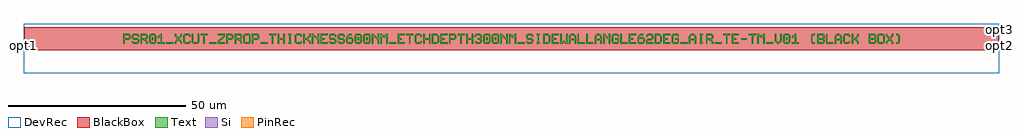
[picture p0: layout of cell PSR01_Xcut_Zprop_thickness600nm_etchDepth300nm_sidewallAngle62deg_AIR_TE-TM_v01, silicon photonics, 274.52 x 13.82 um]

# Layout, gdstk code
import gdstk
lib = gdstk.Library(unit=1e-6, precision=1e-10)
def R(c, l, rs):  # rectangles x0, y0, x1, y1
    for r in rs: c.add(gdstk.rectangle(r[:2], r[2:], *l))
def A(c, l, x, y, w, h, nx, ny, dx, dy):  # array of equal rectangles
    R(c, l, [(x+i*dx, y+j*dy, x+i*dx+w, y+j*dy+h) for i in range(nx) for j in range(ny)])
def P(c, l, *ps):  # polygons
    for p in ps: c.add(gdstk.Polygon(p, *l))
Si = (1, 0)
PinRec = (1, 10)
Text = (10, 0)
DevRec = (68, 0)
BlackBox = (998, 0)

text = lib.new_cell('TEXT')
A(text, Text, 38.56, 0, 2.008, 0.402, 3, 1, 36.15, 0)
R(text, Text, [(12.05,0,14.058,0.402), (24.1,0,26.108,0.402), (156.65,0,158.658,0.402), (166.29,0,168.298,0.402), (180.75,0,182.758,0.402), (8.033,1.004,8.435,1.807), (65.873,1.004,66.275,1.807), (68.283,1.004,68.685,1.807), (102.023,1.004,102.425,1.807), (104.433,1.004,104.835,1.807), (186.373,1.004,186.775,1.807), (173.721,1.205,175.327,1.606)])
P(text, Text, [(0,0),(0,2.811),(1.606,2.811),(2.008,2.41),(2.008,1.606),(1.606,1.205),(0.402,1.205),(0.402,1.606),(1.406,1.606),(1.606,1.807),(1.606,2.209),(1.406,2.41),(0.402,2.41),(0.402,0)],
  [(2.812,0),(2.41,0.402),(2.41,0.803),(2.812,0.803),(2.812,0.602),(3.012,0.402),(3.816,0.402),(4.016,0.602),(4.016,1.004),(3.816,1.205),(2.812,1.205),(2.41,1.606),(2.41,2.41),(2.812,2.811),(4.016,2.811),(4.418,2.41),(4.418,2.008),(4.016,2.008),(4.016,2.209),(3.816,2.41),(3.012,2.41),(2.812,2.209),(2.812,1.807),(3.012,1.606),(4.016,1.606),(4.418,1.205),(4.418,0.402),(4.016,0)],
  [(4.82,0),(4.82,2.811),(6.426,2.811),(6.828,2.41),(5.222,2.41),(5.222,1.606),(6.226,1.606),(6.426,1.807),(6.426,2.209),(6.226,2.41),(6.828,2.41),(6.828,1.606),(6.426,1.205),(6.426,1.004),(6.828,0.602),(6.828,0),(6.426,0),(6.426,0.402),(5.623,1.205),(5.222,1.205),(5.222,0)],
  [(7.632,0),(7.23,0.402),(7.23,2.41),(7.632,2.811),(8.836,2.811),(9.238,2.41),(7.832,2.41),(7.632,2.209),(7.632,0.602),(7.832,0.402),(8.636,0.402),(8.836,0.602),(8.836,2.209),(8.636,2.41),(9.238,2.41),(9.238,0.402),(8.836,0)],
  [(9.64,0),(9.64,0.402),(10.443,0.402),(10.443,2.008),(10.242,2.008),(9.841,1.606),(9.64,1.606),(9.64,2.008),(10.443,2.811),(10.845,2.811),(10.845,0.402),(11.648,0.402),(11.648,0)],
  [(14.46,0),(14.46,0.602),(15.062,1.205),(15.062,1.606),(14.46,2.209),(14.46,2.811),(14.862,2.811),(14.862,2.41),(15.464,1.807),(16.066,2.41),(16.066,2.811),(16.468,2.811),(16.468,2.209),(15.866,1.606),(15.866,1.205),(16.468,0.602),(16.468,0),(16.066,0),(16.066,0.402),(15.464,1.004),(14.862,0.402),(14.862,0)],
  [(17.272,0),(16.87,0.402),(16.87,2.41),(17.272,2.811),(18.476,2.811),(18.878,2.41),(18.878,2.008),(18.476,2.008),(18.476,2.209),(18.276,2.41),(17.472,2.41),(17.272,2.209),(17.272,0.602),(17.472,0.402),(18.276,0.402),(18.476,0.602),(18.476,0.803),(18.878,0.803),(18.878,0.402),(18.476,0)],
  [(19.682,0),(19.28,0.402),(19.28,2.811),(19.682,2.811),(19.682,0.602),(19.882,0.402),(20.686,0.402),(20.886,0.602),(20.886,2.811),(21.288,2.811),(21.288,0.402),(20.886,0)],
  [(22.493,0),(22.493,2.41),(21.69,2.41),(21.69,2.811),(23.698,2.811),(23.698,2.41),(22.895,2.41),(22.895,0)],
  [(26.51,0),(26.51,0.803),(27.313,1.606),(27.514,1.606),(28.116,2.209),(28.116,2.41),(26.51,2.41),(26.51,2.811),(28.518,2.811),(28.518,2.008),(27.715,1.205),(27.514,1.205),(26.912,0.602),(26.912,0.402),(28.518,0.402),(28.518,0)],
  [(28.92,0),(28.92,2.811),(30.526,2.811),(30.928,2.41),(30.928,1.606),(30.526,1.205),(29.322,1.205),(29.322,1.606),(30.326,1.606),(30.526,1.807),(30.526,2.209),(30.326,2.41),(29.322,2.41),(29.322,0)],
  [(31.33,0),(31.33,2.811),(32.936,2.811),(33.338,2.41),(31.732,2.41),(31.732,1.606),(32.736,1.606),(32.936,1.807),(32.936,2.209),(32.736,2.41),(33.338,2.41),(33.338,1.606),(32.936,1.205),(32.936,1.004),(33.338,0.602),(33.338,0),(32.936,0),(32.936,0.402),(32.133,1.205),(31.732,1.205),(31.732,0)],
  [(34.142,0),(33.74,0.402),(33.74,2.41),(34.142,2.811),(35.346,2.811),(35.748,2.41),(35.748,1.406),(35.346,1.406),(35.346,2.209),(35.146,2.41),(34.342,2.41),(34.142,2.209),(34.142,0.602),(34.342,0.402),(35.146,0.402),(35.346,0.602),(35.346,1.406),(35.748,1.406),(35.748,0.402),(35.346,0)],
  [(36.15,0),(36.15,2.811),(37.756,2.811),(38.158,2.41),(38.158,1.606),(37.756,1.205),(36.552,1.205),(36.552,1.606),(37.556,1.606),(37.756,1.807),(37.756,2.209),(37.556,2.41),(36.552,2.41),(36.552,0)],
  [(41.773,0),(41.773,2.41),(40.97,2.41),(40.97,2.811),(42.978,2.811),(42.978,2.41),(42.175,2.41),(42.175,0)],
  [(43.38,0),(43.38,2.811),(43.782,2.811),(43.782,1.606),(44.986,1.606),(44.986,2.811),(45.388,2.811),(45.388,0),(44.986,0),(44.986,1.205),(43.782,1.205),(43.782,0)],
  [(46.392,0),(46.392,0.402),(46.593,0.402),(46.593,2.41),(46.392,2.41),(46.392,2.811),(47.196,2.811),(47.196,2.41),(46.995,2.41),(46.995,0.402),(47.196,0.402),(47.196,0)],
  [(48.602,0),(48.2,0.402),(48.2,2.41),(48.602,2.811),(49.806,2.811),(50.208,2.41),(50.208,2.008),(49.806,2.008),(49.806,2.209),(49.606,2.41),(48.802,2.41),(48.602,2.209),(48.602,0.602),(48.802,0.402),(49.606,0.402),(49.806,0.602),(49.806,0.803),(50.208,0.803),(50.208,0.402),(49.806,0)],
  [(50.61,0),(50.61,2.811),(51.012,2.811),(51.012,1.606),(51.413,1.606),(52.216,2.41),(52.216,2.811),(52.618,2.811),(52.618,2.209),(51.815,1.406),(52.618,0.602),(52.618,0),(52.216,0),(52.216,0.402),(51.413,1.205),(51.012,1.205),(51.012,0)],
  [(53.02,0),(53.02,2.811),(53.422,2.811),(54.426,1.807),(54.626,1.807),(54.626,2.811),(55.028,2.811),(55.028,0),(54.626,0),(54.626,1.004),(53.622,2.008),(53.422,2.008),(53.422,0)],
  [(55.43,0),(55.43,2.811),(57.438,2.811),(57.438,2.41),(55.832,2.41),(55.832,1.606),(56.635,1.606),(56.635,1.205),(55.832,1.205),(55.832,0.402),(57.438,0.402),(57.438,0)],
  [(58.242,0),(57.84,0.402),(57.84,0.803),(58.242,0.803),(58.242,0.602),(58.442,0.402),(59.246,0.402),(59.446,0.602),(59.446,1.004),(59.246,1.205),(58.242,1.205),(57.84,1.606),(57.84,2.41),(58.242,2.811),(59.446,2.811),(59.848,2.41),(59.848,2.008),(59.446,2.008),(59.446,2.209),(59.246,2.41),(58.442,2.41),(58.242,2.209),(58.242,1.807),(58.442,1.606),(59.446,1.606),(59.848,1.205),(59.848,0.402),(59.446,0)],
  [(60.652,0),(60.25,0.402),(60.25,0.803),(60.652,0.803),(60.652,0.602),(60.852,0.402),(61.656,0.402),(61.856,0.602),(61.856,1.004),(61.656,1.205),(60.652,1.205),(60.25,1.606),(60.25,2.41),(60.652,2.811),(61.856,2.811),(62.258,2.41),(62.258,2.008),(61.856,2.008),(61.856,2.209),(61.656,2.41),(60.852,2.41),(60.652,2.209),(60.652,1.807),(60.852,1.606),(61.856,1.606),(62.258,1.205),(62.258,0.402),(61.856,0)],
  [(63.062,0),(62.66,0.402),(62.66,2.008),(63.463,2.811),(64.266,2.811),(64.266,2.41),(63.664,2.41),(63.262,2.008),(63.262,1.807),(64.266,1.807),(64.668,1.406),(63.262,1.406),(63.062,1.205),(63.062,0.602),(63.262,0.402),(64.066,0.402),(64.266,0.602),(64.266,1.205),(64.066,1.406),(64.668,1.406),(64.668,0.402),(64.266,0)],
  [(65.472,0),(65.07,0.402),(65.07,2.41),(65.472,2.811),(66.676,2.811),(67.078,2.41),(65.672,2.41),(65.472,2.209),(65.472,0.602),(65.672,0.402),(66.476,0.402),(66.676,0.602),(66.676,2.209),(66.476,2.41),(67.078,2.41),(67.078,0.402),(66.676,0)],
  [(67.882,0),(67.48,0.402),(67.48,2.41),(67.882,2.811),(69.086,2.811),(69.488,2.41),(68.082,2.41),(67.882,2.209),(67.882,0.602),(68.082,0.402),(68.886,0.402),(69.086,0.602),(69.086,2.209),(68.886,2.41),(69.488,2.41),(69.488,0.402),(69.086,0)],
  [(69.89,0),(69.89,2.811),(70.292,2.811),(71.296,1.807),(71.496,1.807),(71.496,2.811),(71.898,2.811),(71.898,0),(71.496,0),(71.496,1.004),(70.492,2.008),(70.292,2.008),(70.292,0)],
  [(72.3,0),(72.3,2.811),(72.702,2.811),(73.103,2.41),(73.505,2.41),(73.906,2.811),(74.308,2.811),(74.308,0),(73.906,0),(73.906,2.008),(73.706,2.008),(73.304,1.606),(72.902,2.008),(72.702,2.008),(72.702,0)],
  [(77.12,0),(77.12,2.811),(79.128,2.811),(79.128,2.41),(77.522,2.41),(77.522,1.606),(78.325,1.606),(78.325,1.205),(77.522,1.205),(77.522,0.402),(79.128,0.402),(79.128,0)],
  [(80.333,0),(80.333,2.41),(79.53,2.41),(79.53,2.811),(81.538,2.811),(81.538,2.41),(80.735,2.41),(80.735,0)],
  [(82.342,0),(81.94,0.402),(81.94,2.41),(82.342,2.811),(83.546,2.811),(83.948,2.41),(83.948,2.008),(83.546,2.008),(83.546,2.209),(83.346,2.41),(82.542,2.41),(82.342,2.209),(82.342,0.602),(82.542,0.402),(83.346,0.402),(83.546,0.602),(83.546,0.803),(83.948,0.803),(83.948,0.402),(83.546,0)],
  [(84.35,0),(84.35,2.811),(84.752,2.811),(84.752,1.606),(85.956,1.606),(85.956,2.811),(86.358,2.811),(86.358,0),(85.956,0),(85.956,1.205),(84.752,1.205),(84.752,0)],
  [(86.76,0),(86.76,2.811),(88.166,2.811),(88.567,2.41),(87.162,2.41),(87.162,0.402),(87.965,0.402),(88.366,0.803),(88.366,2.008),(87.965,2.41),(88.567,2.41),(88.768,2.209),(88.768,0.602),(88.166,0)],
  [(89.17,0),(89.17,2.811),(91.178,2.811),(91.178,2.41),(89.572,2.41),(89.572,1.606),(90.375,1.606),(90.375,1.205),(89.572,1.205),(89.572,0.402),(91.178,0.402),(91.178,0)],
  [(91.58,0),(91.58,2.811),(93.186,2.811),(93.588,2.41),(93.588,1.606),(93.186,1.205),(91.982,1.205),(91.982,1.606),(92.986,1.606),(93.186,1.807),(93.186,2.209),(92.986,2.41),(91.982,2.41),(91.982,0)],
  [(94.793,0),(94.793,2.41),(93.99,2.41),(93.99,2.811),(95.998,2.811),(95.998,2.41),(95.195,2.41),(95.195,0)],
  [(96.4,0),(96.4,2.811),(96.802,2.811),(96.802,1.606),(98.006,1.606),(98.006,2.811),(98.408,2.811),(98.408,0),(98.006,0),(98.006,1.205),(96.802,1.205),(96.802,0)],
  [(99.212,0),(98.81,0.402),(98.81,0.803),(99.212,0.803),(99.212,0.602),(99.412,0.402),(100.216,0.402),(100.416,0.602),(100.416,1.004),(100.216,1.205),(99.613,1.205),(99.613,1.606),(100.216,1.606),(100.416,1.807),(100.416,2.209),(100.216,2.41),(99.412,2.41),(99.212,2.209),(99.212,2.008),(98.81,2.008),(98.81,2.41),(99.212,2.811),(100.416,2.811),(100.818,2.41),(100.818,1.606),(100.617,1.406),(100.818,1.205),(100.818,0.402),(100.416,0)],
  [(101.622,0),(101.22,0.402),(101.22,2.41),(101.622,2.811),(102.826,2.811),(103.228,2.41),(101.822,2.41),(101.622,2.209),(101.622,0.602),(101.822,0.402),(102.626,0.402),(102.826,0.602),(102.826,2.209),(102.626,2.41),(103.228,2.41),(103.228,0.402),(102.826,0)],
  [(104.032,0),(103.63,0.402),(103.63,2.41),(104.032,2.811),(105.236,2.811),(105.638,2.41),(104.232,2.41),(104.032,2.209),(104.032,0.602),(104.232,0.402),(105.036,0.402),(105.236,0.602),(105.236,2.209),(105.036,2.41),(105.638,2.41),(105.638,0.402),(105.236,0)],
  [(106.04,0),(106.04,2.811),(106.442,2.811),(107.446,1.807),(107.646,1.807),(107.646,2.811),(108.048,2.811),(108.048,0),(107.646,0),(107.646,1.004),(106.642,2.008),(106.442,2.008),(106.442,0)],
  [(108.45,0),(108.45,2.811),(108.852,2.811),(109.253,2.41),(109.655,2.41),(110.056,2.811),(110.458,2.811),(110.458,0),(110.056,0),(110.056,2.008),(109.856,2.008),(109.454,1.606),(109.052,2.008),(108.852,2.008),(108.852,0)],
  [(113.672,0),(113.27,0.402),(113.27,0.803),(113.672,0.803),(113.672,0.602),(113.872,0.402),(114.676,0.402),(114.876,0.602),(114.876,1.004),(114.676,1.205),(113.672,1.205),(113.27,1.606),(113.27,2.41),(113.672,2.811),(114.876,2.811),(115.278,2.41),(115.278,2.008),(114.876,2.008),(114.876,2.209),(114.676,2.41),(113.872,2.41),(113.672,2.209),(113.672,1.807),(113.872,1.606),(114.876,1.606),(115.278,1.205),(115.278,0.402),(114.876,0)],
  [(116.282,0),(116.282,0.402),(116.483,0.402),(116.483,2.41),(116.282,2.41),(116.282,2.811),(117.086,2.811),(117.086,2.41),(116.885,2.41),(116.885,0.402),(117.086,0.402),(117.086,0)],
  [(118.09,0),(118.09,2.811),(119.496,2.811),(119.897,2.41),(118.492,2.41),(118.492,0.402),(119.295,0.402),(119.696,0.803),(119.696,2.008),(119.295,2.41),(119.897,2.41),(120.098,2.209),(120.098,0.602),(119.496,0)],
  [(120.5,0),(120.5,2.811),(122.508,2.811),(122.508,2.41),(120.902,2.41),(120.902,1.606),(121.705,1.606),(121.705,1.205),(120.902,1.205),(120.902,0.402),(122.508,0.402),(122.508,0)],
  [(122.91,0),(122.91,2.811),(123.312,2.811),(123.312,0.602),(123.512,0.602),(123.914,1.004),(124.316,0.602),(124.516,0.602),(124.516,2.811),(124.918,2.811),(124.918,0),(124.316,0),(123.914,0.402),(123.512,0)],
  [(125.32,0),(125.32,2.209),(125.922,2.811),(126.726,2.811),(127.127,2.41),(126.123,2.41),(125.722,2.008),(125.722,1.406),(126.926,1.406),(126.926,2.008),(126.525,2.41),(127.127,2.41),(127.328,2.209),(127.328,0),(126.926,0),(126.926,1.004),(125.722,1.004),(125.722,0)],
  [(127.73,0),(127.73,2.811),(128.132,2.811),(128.132,0.402),(129.738,0.402),(129.738,0)],
  [(130.14,0),(130.14,2.811),(130.542,2.811),(130.542,0.402),(132.148,0.402),(132.148,0)],
  [(132.55,0),(132.55,2.209),(133.152,2.811),(133.956,2.811),(134.357,2.41),(133.353,2.41),(132.952,2.008),(132.952,1.406),(134.156,1.406),(134.156,2.008),(133.755,2.41),(134.357,2.41),(134.558,2.209),(134.558,0),(134.156,0),(134.156,1.004),(132.952,1.004),(132.952,0)],
  [(134.96,0),(134.96,2.811),(135.362,2.811),(136.366,1.807),(136.566,1.807),(136.566,2.811),(136.968,2.811),(136.968,0),(136.566,0),(136.566,1.004),(135.562,2.008),(135.362,2.008),(135.362,0)],
  [(137.772,0),(137.37,0.402),(137.37,2.41),(137.772,2.811),(138.976,2.811),(139.378,2.41),(139.378,2.008),(138.976,2.008),(138.976,2.209),(138.776,2.41),(137.972,2.41),(137.772,2.209),(137.772,0.602),(137.972,0.402),(138.776,0.402),(138.976,0.602),(138.976,1.205),(138.374,1.205),(138.374,1.606),(139.378,1.606),(139.378,0.402),(138.976,0)],
  [(139.78,0),(139.78,2.811),(140.182,2.811),(140.182,0.402),(141.788,0.402),(141.788,0)],
  [(142.19,0),(142.19,2.811),(144.198,2.811),(144.198,2.41),(142.592,2.41),(142.592,1.606),(143.395,1.606),(143.395,1.205),(142.592,1.205),(142.592,0.402),(144.198,0.402),(144.198,0)],
  [(145.002,0),(144.6,0.402),(144.6,2.008),(145.403,2.811),(146.206,2.811),(146.206,2.41),(145.604,2.41),(145.202,2.008),(145.202,1.807),(146.206,1.807),(146.608,1.406),(145.202,1.406),(145.002,1.205),(145.002,0.602),(145.202,0.402),(146.006,0.402),(146.206,0.602),(146.206,1.205),(146.006,1.406),(146.608,1.406),(146.608,0.402),(146.206,0)],
  [(147.01,0),(147.01,1.004),(147.412,1.406),(148.416,1.406),(148.616,1.606),(148.616,2.209),(148.416,2.41),(147.612,2.41),(147.412,2.209),(147.412,2.008),(147.01,2.008),(147.01,2.41),(147.412,2.811),(148.616,2.811),(149.018,2.41),(149.018,1.406),(148.616,1.004),(147.612,1.004),(147.412,0.803),(147.412,0.402),(149.018,0.402),(149.018,0)],
  [(149.42,0),(149.42,2.811),(150.826,2.811),(151.227,2.41),(149.822,2.41),(149.822,0.402),(150.625,0.402),(151.026,0.803),(151.026,2.008),(150.625,2.41),(151.227,2.41),(151.428,2.209),(151.428,0.602),(150.826,0)],
  [(151.83,0),(151.83,2.811),(153.838,2.811),(153.838,2.41),(152.232,2.41),(152.232,1.606),(153.035,1.606),(153.035,1.205),(152.232,1.205),(152.232,0.402),(153.838,0.402),(153.838,0)],
  [(154.642,0),(154.24,0.402),(154.24,2.41),(154.642,2.811),(155.846,2.811),(156.248,2.41),(156.248,2.008),(155.846,2.008),(155.846,2.209),(155.646,2.41),(154.842,2.41),(154.642,2.209),(154.642,0.602),(154.842,0.402),(155.646,0.402),(155.846,0.602),(155.846,1.205),(155.244,1.205),(155.244,1.606),(156.248,1.606),(156.248,0.402),(155.846,0)],
  [(159.06,0),(159.06,2.209),(159.662,2.811),(160.466,2.811),(160.867,2.41),(159.863,2.41),(159.462,2.008),(159.462,1.406),(160.666,1.406),(160.666,2.008),(160.265,2.41),(160.867,2.41),(161.068,2.209),(161.068,0),(160.666,0),(160.666,1.004),(159.462,1.004),(159.462,0)],
  [(162.072,0),(162.072,0.402),(162.273,0.402),(162.273,2.41),(162.072,2.41),(162.072,2.811),(162.876,2.811),(162.876,2.41),(162.675,2.41),(162.675,0.402),(162.876,0.402),(162.876,0)],
  [(163.88,0),(163.88,2.811),(165.486,2.811),(165.888,2.41),(164.282,2.41),(164.282,1.606),(165.286,1.606),(165.486,1.807),(165.486,2.209),(165.286,2.41),(165.888,2.41),(165.888,1.606),(165.486,1.205),(165.486,1.004),(165.888,0.602),(165.888,0),(165.486,0),(165.486,0.402),(164.683,1.205),(164.282,1.205),(164.282,0)],
  [(169.503,0),(169.503,2.41),(168.7,2.41),(168.7,2.811),(170.708,2.811),(170.708,2.41),(169.905,2.41),(169.905,0)],
  [(171.11,0),(171.11,2.811),(173.118,2.811),(173.118,2.41),(171.512,2.41),(171.512,1.606),(172.315,1.606),(172.315,1.205),(171.512,1.205),(171.512,0.402),(173.118,0.402),(173.118,0)],
  [(176.733,0),(176.733,2.41),(175.93,2.41),(175.93,2.811),(177.938,2.811),(177.938,2.41),(177.135,2.41),(177.135,0)],
  [(178.34,0),(178.34,2.811),(178.742,2.811),(179.143,2.41),(179.545,2.41),(179.946,2.811),(180.348,2.811),(180.348,0),(179.946,0),(179.946,2.008),(179.746,2.008),(179.344,1.606),(178.942,2.008),(178.742,2.008),(178.742,0)],
  [(183.963,0),(183.16,0.803),(183.16,2.811),(183.562,2.811),(183.562,1.004),(184.164,0.402),(184.766,1.004),(184.766,2.811),(185.168,2.811),(185.168,0.803),(184.365,0)],
  [(185.972,0),(185.57,0.402),(185.57,2.41),(185.972,2.811),(187.176,2.811),(187.578,2.41),(186.172,2.41),(185.972,2.209),(185.972,0.602),(186.172,0.402),(186.976,0.402),(187.176,0.602),(187.176,2.209),(186.976,2.41),(187.578,2.41),(187.578,0.402),(187.176,0)],
  [(187.98,0),(187.98,0.402),(188.783,0.402),(188.783,2.008),(188.582,2.008),(188.181,1.606),(187.98,1.606),(187.98,2.008),(188.783,2.811),(189.185,2.811),(189.185,0.402),(189.988,0.402),(189.988,0)],
  [(193.804,0),(193.402,0.402),(193.402,2.41),(193.804,2.811),(194.406,2.811),(194.406,2.41),(194.005,2.41),(193.804,2.209),(193.804,0.602),(194.005,0.402),(194.406,0.402),(194.406,0)],
  [(195.21,0),(195.21,2.811),(196.816,2.811),(197.218,2.41),(195.612,2.41),(195.612,1.606),(196.616,1.606),(196.816,1.807),(196.816,2.209),(196.616,2.41),(197.218,2.41),(197.218,1.606),(197.017,1.406),(197.218,1.205),(195.612,1.205),(195.612,0.402),(196.616,0.402),(196.816,0.602),(196.816,1.004),(196.616,1.205),(197.218,1.205),(197.218,0.402),(196.816,0)],
  [(197.62,0),(197.62,2.811),(198.022,2.811),(198.022,0.402),(199.628,0.402),(199.628,0)],
  [(200.03,0),(200.03,2.209),(200.632,2.811),(201.436,2.811),(201.837,2.41),(200.833,2.41),(200.432,2.008),(200.432,1.406),(201.636,1.406),(201.636,2.008),(201.235,2.41),(201.837,2.41),(202.038,2.209),(202.038,0),(201.636,0),(201.636,1.004),(200.432,1.004),(200.432,0)],
  [(202.842,0),(202.44,0.402),(202.44,2.41),(202.842,2.811),(204.046,2.811),(204.448,2.41),(204.448,2.008),(204.046,2.008),(204.046,2.209),(203.846,2.41),(203.042,2.41),(202.842,2.209),(202.842,0.602),(203.042,0.402),(203.846,0.402),(204.046,0.602),(204.046,0.803),(204.448,0.803),(204.448,0.402),(204.046,0)],
  [(204.85,0),(204.85,2.811),(205.252,2.811),(205.252,1.606),(205.653,1.606),(206.456,2.41),(206.456,2.811),(206.858,2.811),(206.858,2.209),(206.055,1.406),(206.858,0.602),(206.858,0),(206.456,0),(206.456,0.402),(205.653,1.205),(205.252,1.205),(205.252,0)],
  [(209.67,0),(209.67,2.811),(211.276,2.811),(211.678,2.41),(210.072,2.41),(210.072,1.606),(211.076,1.606),(211.276,1.807),(211.276,2.209),(211.076,2.41),(211.678,2.41),(211.678,1.606),(211.477,1.406),(211.678,1.205),(210.072,1.205),(210.072,0.402),(211.076,0.402),(211.276,0.602),(211.276,1.004),(211.076,1.205),(211.678,1.205),(211.678,0.402),(211.276,0)],
  [(212.482,0),(212.08,0.402),(212.08,2.41),(212.482,2.811),(213.686,2.811),(214.088,2.41),(214.088,1.406),(213.686,1.406),(213.686,2.209),(213.486,2.41),(212.682,2.41),(212.482,2.209),(212.482,0.602),(212.682,0.402),(213.486,0.402),(213.686,0.602),(213.686,1.406),(214.088,1.406),(214.088,0.402),(213.686,0)],
  [(214.49,0),(214.49,0.602),(215.092,1.205),(215.092,1.606),(214.49,2.209),(214.49,2.811),(214.892,2.811),(214.892,2.41),(215.494,1.807),(216.096,2.41),(216.096,2.811),(216.498,2.811),(216.498,2.209),(215.896,1.606),(215.896,1.205),(216.498,0.602),(216.498,0),(216.096,0),(216.096,0.402),(215.494,1.004),(214.892,0.402),(214.892,0)],
  [(217.302,0),(217.302,0.402),(217.703,0.402),(217.904,0.602),(217.904,2.209),(217.703,2.41),(217.302,2.41),(217.302,2.811),(217.904,2.811),(218.306,2.41),(218.306,0.402),(217.904,0)])

psr01_xcut_zprop_thickne = lib.new_cell('PSR01_Xcut_Zprop_thickness600nm_etchDepth300nm_sidewallAngle62deg_AIR_TE-TM_v01')
R(psr01_xcut_zprop_thickne, Si, [(137.05,-3.2095,137.25,-0.7095), (-137.25,-2.3095,-137.05,-1.6095), (137.05,2.2095,137.25,3.2095)])
R(psr01_xcut_zprop_thickne, DevRec, [(-137.25,-9.6095,137.25,4.2095)])
R(psr01_xcut_zprop_thickne, BlackBox, [(-137.05,-3.2095,137.05,3.2095)])
psr01_xcut_zprop_thickne.add(gdstk.FlexPath([(-137.24,-1.9595),(-137.26,-1.9595)], 0.7, ends="flush", simple_path=True, layer=1, datatype=10))  # PinRec
psr01_xcut_zprop_thickne.add(gdstk.FlexPath([(137.24,-1.9595),(137.26,-1.9595)], 2.5, ends="flush", simple_path=True, layer=1, datatype=10))  # PinRec
psr01_xcut_zprop_thickne.add(gdstk.FlexPath([(137.24,2.7095),(137.26,2.7095)], 1, ends="flush", simple_path=True, layer=1, datatype=10))  # PinRec
psr01_xcut_zprop_thickne.add(gdstk.Reference(text, (-109.153,-1.4055)))
psr01_xcut_zprop_thickne.add(gdstk.Label('opt1', (-137.25,-1.9595), layer=1, texttype=10))
psr01_xcut_zprop_thickne.add(gdstk.Label('opt2', (137.25,-1.9595), layer=1, texttype=10))
psr01_xcut_zprop_thickne.add(gdstk.Label('opt3', (137.25,2.7095), layer=1, texttype=10))
psr01_xcut_zprop_thickne.add(gdstk.Label('By Songliang Chen, 2026/10/13', (-136.75,-3.7095), layer=10, texttype=0))

lib.write_gds('PSR01_Xcut_Zprop_thickness600nm_etchDepth300nm_sidewallAngle62deg_AIR_TE-TM_v01.gds')
